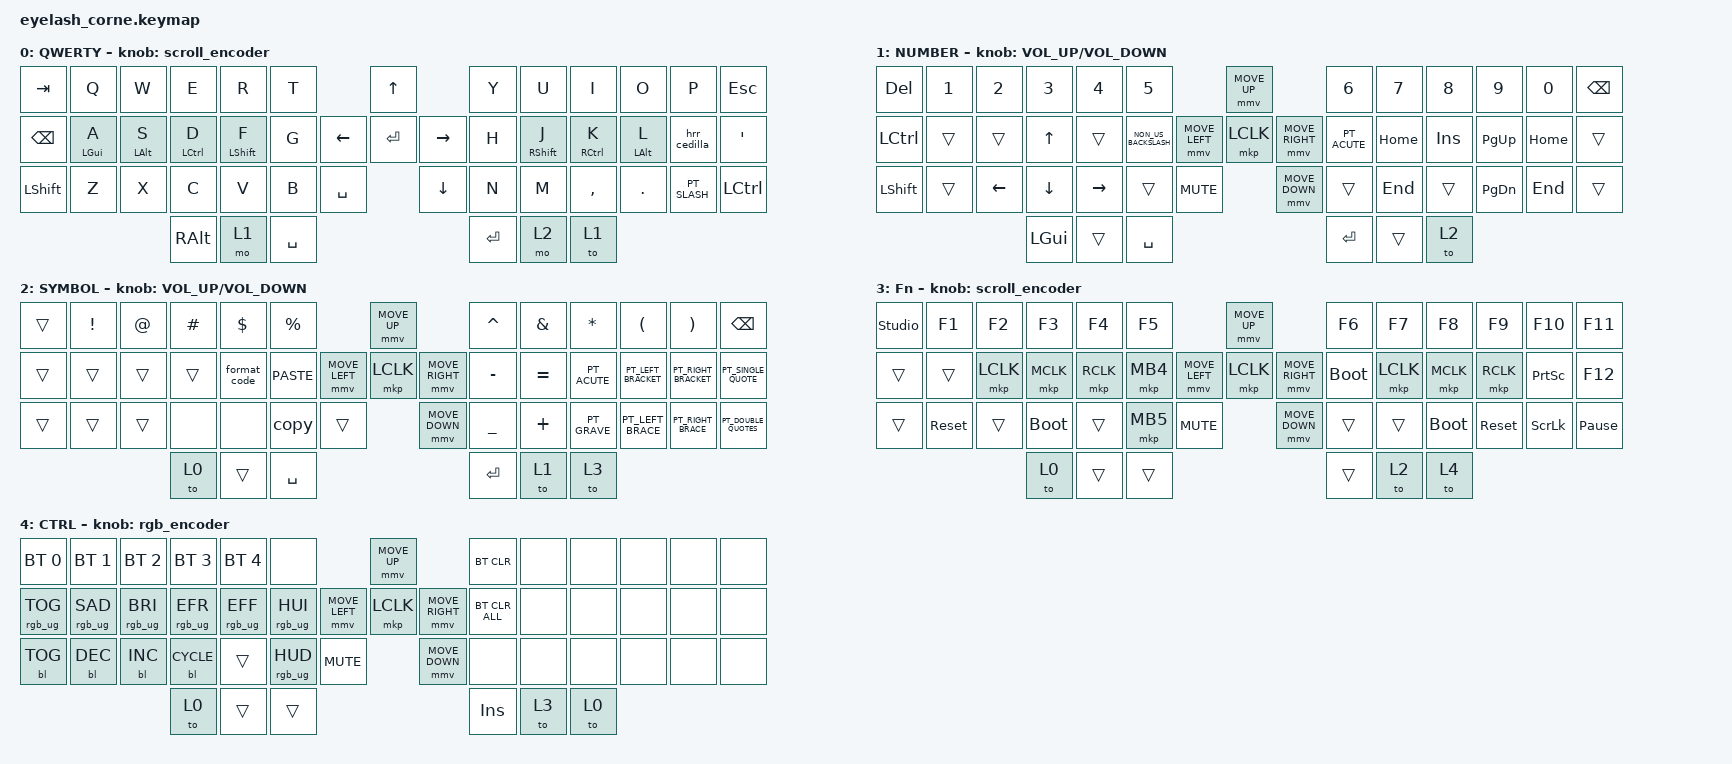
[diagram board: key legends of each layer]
#define ZMK_POINTING_DEFAULT_MOVE_VAL 1200  // 600
#define ZMK_POINTING_DEFAULT_SCRL_VAL 25   // 10

#include <input/processors.dtsi>
#include <zephyr/dt-bindings/input/input-event-codes.h>

/* Locale key codes extensions: https://github.com/joelspadin/zmk-locale-generator */
#ifndef KEYMAP_DRAWER
#include "keys_pt_abnt2.h"
#include "keys_us_international.h"
#endif
#include <behaviors/runtime-sensor-rotate.dtsi>
#include <behaviors.dtsi>
#include <dt-bindings/zmk/backlight.h>
#include <dt-bindings/zmk/bt.h>
#include <dt-bindings/zmk/keys.h>
#include <dt-bindings/zmk/pointing.h>
#include <dt-bindings/zmk/rgb.h>

&soft_off { hold-time-ms = <2000>; };

&mmv_input_listener { input-processors = <&zip_xy_scaler 2 1>; };

&msc_input_listener { input-processors = <&zip_scroll_scaler 3 1>; };

&msc {
    acceleration-exponent = <2>;      // 0
    time-to-max-speed-ms = <450>;       // 300
    delay-ms = <0>;                   // 0
};

&mmv {
    time-to-max-speed-ms = <500>;
    acceleration-exponent = <1>;
    trigger-period-ms = <16>;
};

/ {
    behaviors {
        td0: td0 {
            compatible = "zmk,behavior-tap-dance";
            display-name = "Shift/Caps Lock Tap Dance";
            #binding-cells = <0>;
            bindings = <&kp LEFT_SHIFT>, <&kp CAPS>;
        };

        HRL: HRL {
            compatible = "zmk,behavior-hold-tap";
            label = "Home Row Left";
            bindings = <&kp>, <&kp>;

            #binding-cells = <2>;
            tapping-term-ms = <180>;
            quick-tap-ms = <175>;
            flavor = "tap-preferred";
            hold-trigger-key-positions = <7 8 9 10 11 12 22 23 24 25 26 27 36 37 38 39 40 41 45 46 47>;
            hold-trigger-on-release;
            require-prior-idle-ms = <150>;
        };

        HRR: HRR {
            compatible = "zmk,behavior-hold-tap";
            label = "Home Row Right";
            bindings = <&kp>, <&kp>;

            #binding-cells = <2>;
            tapping-term-ms = <180>;
            quick-tap-ms = <175>;
            flavor = "tap-preferred";
            hold-trigger-key-positions = <0 1 5 13 14 15 16 17 18 28 29 30 31 32 33 42 43 44 4 3 2>;
            hold-trigger-on-release;
            require-prior-idle-ms = <150>;
        };

        hrr_cedilla: hrr_cedilla {
            compatible = "zmk,behavior-tap-dance";
            label = ";/Ç|GUI";
            #binding-cells = <0>;
            bindings = <&mt RIGHT_GUI PT_SEMICOLON>, <&kp PT_C_CEDILLA>;

            tapping-term-ms = <190>;
        };

        rgb_encoder: rgb_encoder {
            compatible = "zmk,behavior-sensor-rotate";
            #sensor-binding-cells = <0>;
            bindings = <&rgb_ug RGB_BRI>, <&rgb_ug RGB_BRD>;
        };

        scroll_encoder: scroll_encoder {
            compatible = "zmk,behavior-sensor-rotate";
            #sensor-binding-cells = <0>;
            bindings = <&msc SCRL_DOWN>, <&msc SCRL_UP>;

            tap-ms = <100>;
        };

        rsr_vol: rsr_vol {
            compatible = "zmk,behavior-runtime-sensor-rotate";
            #sensor-binding-cells = <0>;
            tap-ms = <5>;
            cw-binding = <&kp C_VOL_UP>;
            ccw-binding = <&kp C_VOL_DN>;
        };

        rsr_trans: rsr_trans {
            compatible = "zmk,behavior-runtime-sensor-rotate";
            #sensor-binding-cells = <0>;
            tap-ms = <0>;
        };

        caps_word: caps_word {
            compatible = "zmk,behavior-caps-word";
            label = "CAPS_WORD";
            #binding-cells = <0>;
            continue-list = <UNDERSCORE MINUS BACKSPACE DELETE>;
            mods = <(MOD_LSFT)>;
        };
    };

    combos {
        compatible = "zmk,combos";

        softoff {
            bindings = <&soft_off>;
            key-positions = <1 15 29>;
        };

        both_shifts_caps_lock {
            bindings = <&caps_word>;
            key-positions = <17 23>;
        };
    };

    macros {
        format_code: format_code {
            compatible = "zmk,behavior-macro";
            #binding-cells = <0>;
            bindings =
                <&macro_press>,
                <&kp LEFT_CONTROL>,
                <&macro_press>,
                <&kp LEFT_SHIFT>,
                <&macro_press>,
                <&kp F>,
                <&macro_release>,
                <&kp LEFT_CONTROL &kp LEFT_SHIFT &kp F>;

            label = "Format code";
        };

        copy: copy {
            compatible = "zmk,behavior-macro";
            #binding-cells = <0>;
            bindings =
                <&macro_press>,
                <&kp LEFT_CONTROL>,
                <&macro_press>,
                <&kp C>,
                <&macro_release>,
                <&kp C &kp LEFT_CONTROL>;

            label = "COPY";
        };

        hrr_cedilla_macro: hrr_cedilla_macro {
            compatible = "zmk,behavior-macro";
            #binding-cells = <0>;
            bindings = <&HRR RIGHT_GUI PT_SEMICOLON>;
            label = "HRR_CEDILLA_MACRO";
            tap-ms = <150>;
        };
    };

    keymap {
        compatible = "zmk,keymap";

        default_layer {
            display-name = "QWERTY";
            bindings = <
&kp TAB         &kp Q            &kp W            &kp E         &kp R              &kp T                             &kp UP                &kp Y      &kp U               &kp I         &kp O            &kp P         &kp ESCAPE
&kp BACKSPACE   &HRL LEFT_GUI A  &HRL LEFT_ALT S  &HRL LCTRL D  &HRL LEFT_SHIFT F  &kp G                   &kp LEFT  &kp ENTER  &kp RIGHT  &kp H      &HRR RIGHT_SHIFT J  &HRR RCTRL K  &HRR LEFT_ALT L  &hrr_cedilla  &kp SQT
&kp LEFT_SHIFT  &kp Z            &kp X            &kp C         &kp V              &kp B      &kp SPACE              &kp DOWN              &kp N      &kp M               &kp COMMA     &kp DOT          &kp PT_SLASH  &kp LCTRL
                                                  &kp RALT      &mo 1              &kp SPACE                                               &kp ENTER  &mo 2               &to 1
            >;

            sensor-bindings = <&scroll_encoder>;
        };

        lower_layer {
            display-name = "NUMBER";
            bindings = <
&kp DEL         &kp N1  &kp N2          &kp N3          &kp N4           &kp N5                                              &mmv MOVE_UP                     &kp N6        &kp N7    &kp N8      &kp N9         &kp N0    &kp BSPC
&kp LCTRL       &trans  &trans          &kp UP_ARROW    &trans           &kp NON_US_BACKSLASH                &mmv MOVE_LEFT  &mkp LCLK       &mmv MOVE_RIGHT  &kp PT_ACUTE  &kp HOME  &kp INSERT  &kp PAGE_UP    &kp HOME  &trans
&kp LEFT_SHIFT  &trans  &kp LEFT_ARROW  &kp DOWN_ARROW  &kp RIGHT_ARROW  &trans                &kp C_MUTE                    &mmv MOVE_DOWN                   &trans        &kp END   &trans      &kp PAGE_DOWN  &kp END   &trans
                                        &kp LEFT_GUI    &trans           &kp SPACE                                                                            &kp ENTER     &trans    &to 2
            >;

            sensor-bindings = <&inc_dec_kp C_VOLUME_UP C_VOLUME_DOWN>;
        };

        raise_layer {
            display-name = "SYMBOL";
            bindings = <
&trans  &kp EXCL  &kp AT  &kp HASH  &kp DLLR      &kp PRCNT                              &mmv MOVE_UP                     &kp CARET  &kp AMPS   &kp ASTRK     &kp LPAR             &kp RPAR              &kp BSPC
&trans  &trans    &trans  &trans    &format_code  &kp K_PASTE            &mmv MOVE_LEFT  &mkp LCLK       &mmv MOVE_RIGHT  &kp MINUS  &kp EQUAL  &kp PT_ACUTE  &kp PT_LEFT_BRACKET  &kp PT_RIGHT_BRACKET  &kp PT_SINGLE_QUOTE
&trans  &trans    &trans  &none     &none         &copy        &trans                    &mmv MOVE_DOWN                   &kp UNDER  &kp PLUS   &kp PT_GRAVE  &kp PT_LEFT_BRACE    &kp PT_RIGHT_BRACE    &kp PT_DOUBLE_QUOTES
                          &to 0     &trans        &kp SPACE                                                               &kp RET    &to 1      &to 3
            >;

            sensor-bindings = <&inc_dec_kp C_VOLUME_UP C_VOLUME_DOWN>;
        };

        layer_3 {
            display-name = "Fn";
            bindings = <
&studio_unlock  &kp F1      &kp F2     &kp F3       &kp F4     &kp F5                                  &mmv MOVE_UP                     &kp F6       &kp F7     &kp F8       &kp F9      &kp F10          &kp F11
&trans          &trans      &mkp LCLK  &mkp MCLK    &mkp RCLK  &mkp MB4                &mmv MOVE_LEFT  &mkp LCLK       &mmv MOVE_RIGHT  &bootloader  &mkp LCLK  &mkp MCLK    &mkp RCLK   &kp PRINTSCREEN  &kp F12
&trans          &sys_reset  &trans     &bootloader  &trans     &mkp MB5  &kp C_MUTE                    &mmv MOVE_DOWN                   &trans       &trans     &bootloader  &sys_reset  &kp SCROLLLOCK   &kp PAUSE_BREAK
                                       &to 0        &trans     &trans                                                                   &trans       &to 2      &to 4
            >;

            sensor-bindings = <&scroll_encoder>;
        };

        layer_4 {
            display-name = "CTRL";
            bindings = <
&bt BT_SEL 0     &bt BT_SEL 1     &bt BT_SEL 2     &bt BT_SEL 3     &bt BT_SEL 4     &none                                          &mmv MOVE_UP                     &bt BT_CLR      &none  &none  &none  &none  &none
&rgb_ug RGB_TOG  &rgb_ug RGB_SAD  &rgb_ug RGB_BRI  &rgb_ug RGB_EFR  &rgb_ug RGB_EFF  &rgb_ug RGB_HUI                &mmv MOVE_LEFT  &mkp LCLK       &mmv MOVE_RIGHT  &bt BT_CLR_ALL  &none  &none  &none  &none  &none
&bl BL_TOG       &bl BL_DEC       &bl BL_INC       &bl BL_CYCLE     &trans           &rgb_ug RGB_HUD  &kp C_MUTE                    &mmv MOVE_DOWN                   &none           &none  &none  &none  &none  &none
                                                   &to 0            &trans           &trans                                                                          &kp INS         &to 3  &to 0
            >;

            sensor-bindings = <&rgb_encoder>;
        };
    };
};
